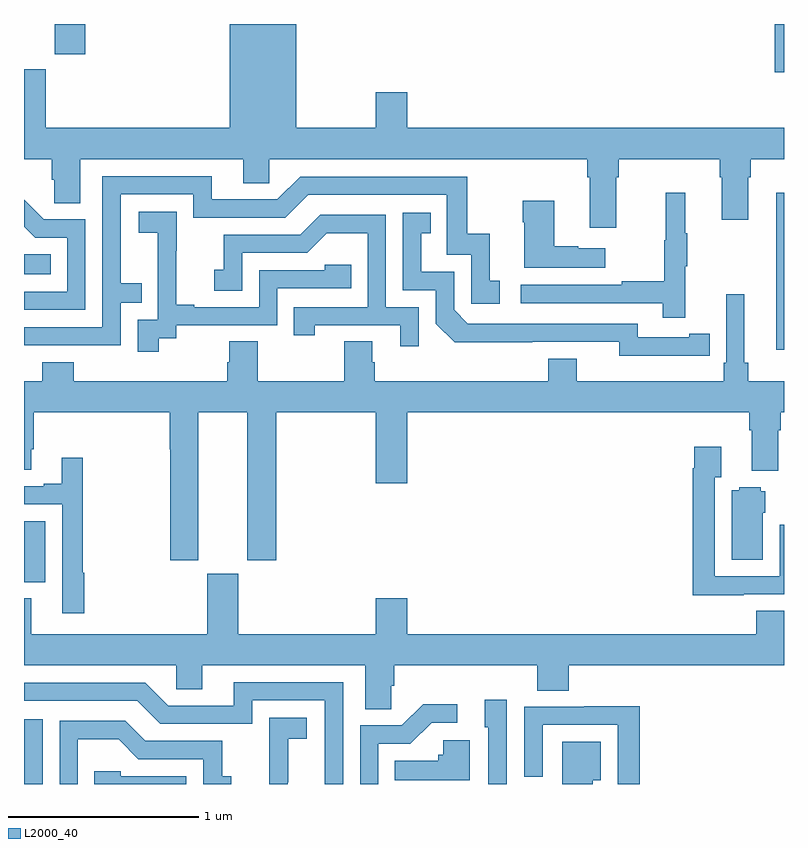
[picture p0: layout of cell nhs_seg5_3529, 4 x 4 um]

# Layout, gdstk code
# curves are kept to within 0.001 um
import gdstk
lib = gdstk.Library(unit=1e-6, precision=1e-09)
def R(c, l, rs):  # rectangles x0, y0, x1, y1
    for r in rs: c.add(gdstk.rectangle(r[:2], r[2:], *l))
def P(c, l, *ps):  # polygons
    for p in ps: c.add(gdstk.Polygon(p, *l))
L2000_40 = (2000, 40)

nhs_seg5_3529 = lib.new_cell('nhs_seg5_3529')
R(nhs_seg5_3529, L2000_40, [(319,859.862,319.111,860.182), (322.958,861.084,323,861.91), (319,861.482,319.142,861.586), (322.952,862.546,323,862.799), (319.162,862.641,319.322,862.799)])
P(nhs_seg5_3529, L2000_40, [(322.117,861.992),(322.13,861.992),(322.13,862.088),(322.661,862.088),(322.661,861.992),(322.673,861.992),(322.673,861.768),(322.813,861.768),(322.813,861.992),(322.826,861.992),(322.826,862.088),(323,862.088),(323,862.252),(321.016,862.252),(321.016,862.441),(320.852,862.441),(320.852,862.252),(320.434,862.252),(320.434,862.799),(320.084,862.799),(320.084,862.252),(319.114,862.252),(319.114,862.561),(319,862.561),(319,862.088),(319.145,862.088),(319.145,861.979),(319.158,861.979),(319.158,861.856),(319.297,861.856),(319.297,862.088),(320.153,862.088),(320.153,861.961),(320.292,861.961),(320.292,862.088),(321.965,862.088),(321.965,861.992),(321.977,861.992),(321.977,861.726),(322.117,861.726)],
  [(319.013,861.108),(319.509,861.108),(319.509,861.333),(319.619,861.333),(319.619,861.434),(319.509,861.434),(319.509,861.903),(319.89,861.903),(319.89,861.78),(320.376,861.78),(320.496,861.9),(321.225,861.9),(321.225,861.585),(321.354,861.585),(321.354,861.327),(321.505,861.327),(321.505,861.447),(321.452,861.447),(321.452,861.694),(321.334,861.694),(321.334,861.996),(320.454,861.996),(320.334,861.876),(319.987,861.876),(319.987,861.999),(319.413,861.999),(319.413,861.204),(319,861.204),(319,861.107)],
  [(322.481,861.523),(322.492,861.523),(322.492,861.697),(322.481,861.697),(322.481,861.91),(322.378,861.91),(322.378,861.66),(322.371,861.66),(322.371,861.446),(322.147,861.446),(322.147,861.426),(321.615,861.426),(321.615,861.33),(322.363,861.33),(322.363,861.252),(322.481,861.252)],
  [(319.323,861.771),(319.104,861.771),(319,861.875),(319,861.733),(319.058,861.675),(319.227,861.675),(319.227,861.39),(319,861.39),(319,861.294),(319.323,861.294)],
  [(322.06,861.619),(321.917,861.619),(321.917,861.629),(321.79,861.629),(321.79,861.868),(321.625,861.868),(321.625,861.755),(321.632,861.755),(321.632,861.515),(322.06,861.515)],
  [(319.708,861.145),(319.8,861.145),(319.8,861.213),(320.334,861.213),(320.334,861.408),(320.723,861.408),(320.723,861.531),(320.583,861.531),(320.583,861.504),(320.238,861.504),(320.238,861.309),(319.897,861.309),(319.897,861.322),(319.802,861.322),(319.802,861.605),(319.803,861.605),(319.803,861.811),(319.605,861.811),(319.605,861.701),(319.703,861.701),(319.703,861.473),(319.704,861.473),(319.704,861.243),(319.599,861.243),(319.599,861.075),(319.708,861.075)],
  [(322.502,861.054),(322.61,861.054),(322.61,861.17),(322.502,861.17),(322.502,861.15),(322.23,861.15),(322.23,861.222),(321.336,861.222),(321.264,861.294),(321.264,861.495),(321.091,861.495),(321.091,861.699),(321.14,861.699),(321.14,861.805),(320.994,861.805),(320.994,861.399),(321.168,861.399),(321.168,861.222),(321.266,861.125),(322.134,861.126),(322.134,861.053)],
  [(321.078,861.309),(320.904,861.309),(320.904,861.795),(320.558,861.795),(320.453,861.69),(320.05,861.69),(320.05,861.505),(320.001,861.505),(320.001,861.396),(320.148,861.396),(320.148,861.594),(320.49,861.594),(320.594,861.698),(320.808,861.698),(320.808,861.309),(320.419,861.309),(320.419,861.162),(320.53,861.162),(320.53,861.213),(320.981,861.213),(320.981,861.102),(321.078,861.102)],
  [(319.918,860.756),(320.174,860.756),(320.174,859.977),(320.327,859.977),(320.327,860.756),(320.852,860.756),(320.852,860.382),(321.016,860.382),(321.016,860.756),(322.817,860.756),(322.817,860.66),(322.829,860.66),(322.829,860.447),(322.969,860.447),(322.969,860.66),(322.982,860.66),(322.982,860.756),(323,860.756),(323,860.92),(322.811,860.92),(322.811,861.016),(322.792,861.016),(322.792,861.376),(322.695,861.376),(322.695,861.016),(322.682,861.016),(322.682,860.92),(321.91,860.92),(321.91,861.037),(321.758,861.037),(321.758,860.92),(320.846,860.92),(320.846,861.018),(320.833,861.018),(320.833,861.128),(320.686,861.128),(320.686,860.92),(320.229,860.92),(320.229,861.128),(320.081,861.128),(320.081,861.018),(320.069,861.018),(320.069,860.92),(319.262,860.92),(319.262,861.019),(319.097,861.019),(319.097,860.92),(319,860.92),(319,860.452),(319.039,860.452),(319.039,860.56),(319.052,860.56),(319.052,860.756),(319.766,860.756),(319.766,860.56),(319.771,860.56),(319.771,859.977),(319.918,859.977)],
  [(322.789,859.797),(323,859.797),(323,860.164),(322.977,860.164),(322.977,859.893),(322.635,859.893),(322.635,860.414),(322.669,860.414),(322.669,860.575),(322.527,860.575),(322.527,860.462),(322.519,860.462),(322.519,859.793),(322.789,859.793)],
  [(319.316,859.91),(319.309,859.91),(319.309,860.515),(319.199,860.515),(319.199,860.38),(319.103,860.38),(319.103,860.367),(319,860.367),(319,860.271),(319.2,860.271),(319.2,859.698),(319.316,859.698)],
  [(322.888,860.226),(322.9,860.226),(322.9,860.34),(322.878,860.34),(322.878,860.362),(322.764,860.362),(322.764,860.344),(322.724,860.344),(322.724,859.978),(322.888,859.978)],
  [(320.934,859.315),(320.948,859.315),(320.948,859.424),(321.701,859.424),(321.701,859.291),(321.866,859.291),(321.866,859.424),(323,859.424),(323,859.712),(322.853,859.712),(322.853,859.588),(321.016,859.588),(321.016,859.777),(320.852,859.777),(320.852,859.588),(320.128,859.588),(320.128,859.905),(319.964,859.905),(319.964,859.588),(319.039,859.588),(319.039,859.777),(319,859.777),(319,859.424),(319.8,859.424),(319.8,859.297),(319.939,859.297),(319.939,859.424),(320.795,859.424),(320.795,859.192),(320.934,859.192)],
  [(320.679,859.335),(320.105,859.335),(320.105,859.212),(319.758,859.212),(319.638,859.332),(319,859.332),(319,859.236),(319.596,859.236),(319.716,859.116),(320.202,859.116),(320.202,859.239),(320.583,859.239),(320.583,858.799),(320.679,858.799)],
  [(321.54,859.243),(321.425,859.243),(321.425,859.098),(321.444,859.098),(321.444,858.799),(321.54,858.799)],
  [(320.865,859.011),(321.034,859.011),(321.145,859.122),(321.28,859.122),(321.28,859.22),(321.101,859.22),(320.988,859.107),(320.769,859.107),(320.769,858.799),(320.865,858.799)],
  [(322.241,859.208),(321.949,859.208),(321.949,859.206),(321.633,859.206),(321.633,858.837),(321.729,858.837),(321.729,859.11),(322.125,859.11),(322.125,858.799),(322.241,858.799)],
  [(320.388,858.809),(320.39,858.809),(320.39,859.037),(320.488,859.037),(320.488,859.147),(320.29,859.147),(320.29,858.941),(320.291,858.941),(320.291,858.799),(320.388,858.799)],
  [(319.098,859.141),(319,859.141),(319,859.035),(319.001,859.035),(319.001,858.831),(319,858.831),(319,858.799),(319.098,858.799)],
  [(319.284,859.034),(319.498,859.034),(319.602,858.93),(319.944,858.93),(319.944,858.799),(320.092,858.799),(320.092,858.841),(320.043,858.841),(320.043,859.026),(319.639,859.026),(319.534,859.131),(319.188,859.131),(319.188,858.799),(319.284,858.799)],
  [(321.346,859.03),(321.207,859.03),(321.207,858.954),(321.181,858.954),(321.181,858.922),(320.95,858.922),(320.95,858.818),(321.346,858.818)],
  [(321.994,858.818),(322.036,858.818),(322.036,859.021),(321.833,859.021),(321.833,858.799),(321.994,858.799)],
  [(319.854,858.84),(319.509,858.84),(319.509,858.867),(319.369,858.867),(319.369,858.799),(319.854,858.799)])

lib.write_gds('nhs_seg5_3529.gds')
